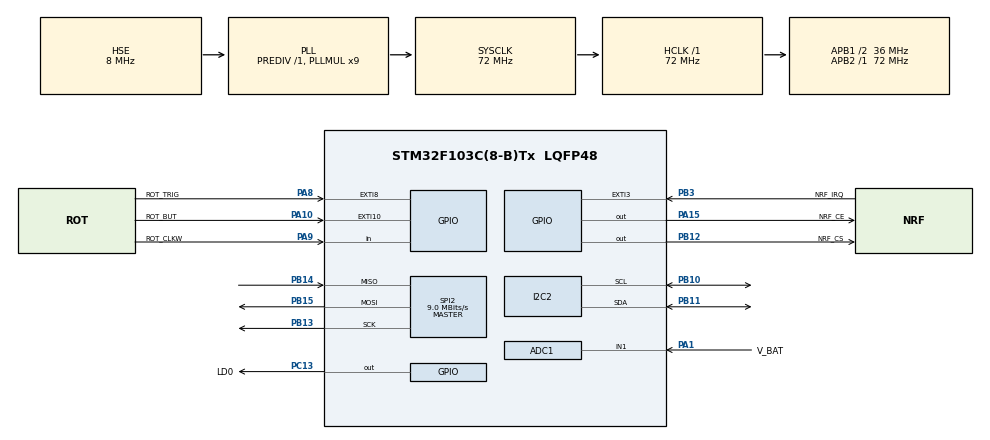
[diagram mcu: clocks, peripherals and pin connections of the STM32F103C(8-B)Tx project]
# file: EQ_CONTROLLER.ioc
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ADC1.Channel-0\#ChannelRegularConversion=ADC_CHANNEL_1
ADC1.NbrOfConversionFlag=1
ADC1.Rank-0\#ChannelRegularConversion=1
ADC1.SamplingTime-0\#ChannelRegularConversion=ADC_SAMPLETIME_1CYCLE_5
ADC1.master=1
I2C2.I2C_Mode=I2C_Fast
Mcu.Family=STM32F1
Mcu.Name=STM32F103C(8-B)Tx
Mcu.Package=LQFP48
NVIC.EXTI15_10_IRQn=true\:0\:0\:false\:false\:true\:true\:true\:true
NVIC.EXTI3_IRQn=true\:0\:0\:false\:false\:true\:true\:true\:true
NVIC.EXTI9_5_IRQn=true\:0\:0\:false\:false\:true\:true\:true\:true
NVIC.PriorityGroup=NVIC_PRIORITYGROUP_4
PA1.GPIO_Label=V_BAT
PA1.Signal=ADCx_IN1
PA10.GPIO_Label=ROT_BUT
PA10.GPIO_ModeDefaultEXTI=GPIO_MODE_IT_RISING_FALLING
PA10.GPIO_PuPd=GPIO_PULLDOWN
PA10.Signal=GPXTI10
PA13.Mode=Serial_Wire
PA13.Signal=SYS_JTMS-SWDIO
PA14.Mode=Serial_Wire
PA14.Signal=SYS_JTCK-SWCLK
PA15.GPIO_Label=NRF_CE
PA15.Signal=GPIO_Output
PA8.GPIO_Label=ROT_TRIG
PA8.GPIO_PuPd=GPIO_PULLDOWN
PA8.Signal=GPXTI8
PA9.GPIO_Label=ROT_CLKW
PA9.GPIO_PuPd=GPIO_PULLDOWN
PA9.Signal=GPIO_Input
PB10.Mode=I2C
PB10.Signal=I2C2_SCL
PB11.Mode=I2C
PB11.Signal=I2C2_SDA
PB12.GPIO_Label=NRF_CS
PB12.Signal=GPIO_Output
PB13.Mode=Full_Duplex_Master
PB13.Signal=SPI2_SCK
PB14.Mode=Full_Duplex_Master
PB14.Signal=SPI2_MISO
PB15.Mode=Full_Duplex_Master
PB15.Signal=SPI2_MOSI
PB3.GPIO_Label=NRF_IRQ
PB3.GPIO_ModeDefaultEXTI=GPIO_MODE_IT_FALLING
PB3.Signal=GPXTI3
PC13-TAMPER-RTC.GPIO_Label=LD0
PC13-TAMPER-RTC.Signal=GPIO_Output
PD0-OSC_IN.Mode=HSE-External-Oscillator
PD0-OSC_IN.Signal=RCC_OSC_IN
PD1-OSC_OUT.Mode=HSE-External-Oscillator
PD1-OSC_OUT.Signal=RCC_OSC_OUT
ProjectManager.HeapSize=0x200
ProjectManager.StackSize=0x400
ProjectManager.TargetToolchain=STM32CubeIDE
RCC.ADCPresc=RCC_ADCPCLK2_DIV6
RCC.AHBFreq_Value=72000000
RCC.APB1CLKDivider=RCC_HCLK_DIV2
RCC.APB1Freq_Value=36000000
RCC.APB1TimFreq_Value=72000000
RCC.APB2Freq_Value=72000000
RCC.APB2TimFreq_Value=72000000
RCC.EnbaleCSS=true
RCC.HCLKFreq_Value=72000000
RCC.PLLMUL=RCC_PLL_MUL9
RCC.PLLSourceVirtual=RCC_PLLSOURCE_HSE
RCC.SYSCLKFreq_VALUE=72000000
RCC.SYSCLKSource=RCC_SYSCLKSOURCE_PLLCLK
RCC.USBFreq_Value=48000000
RCC.USBPrescaler=RCC_USBCLKSOURCE_PLL_DIV1_5
RTC.Date=8
RTC.Format=RTC_FORMAT_BCD
RTC.Month=RTC_MONTH_SEPTEMBER
RTC.Year=23
SH.ADCx_IN1.0=ADC1_IN1,IN1
SPI2.BaudRatePrescaler=SPI_BAUDRATEPRESCALER_4
SPI2.CRCCalculation=SPI_CRCCALCULATION_DISABLE
SPI2.CalculateBaudRate=9.0 MBits/s
SPI2.Direction=SPI_DIRECTION_2LINES
SPI2.FirstBit=SPI_FIRSTBIT_MSB
SPI2.Mode=SPI_MODE_MASTER
SPI2.VirtualType=VM_MASTER
TIM3.AutoReloadPreload=TIM_AUTORELOAD_PRELOAD_ENABLE
TIM3.ClockDivision=TIM_CLOCKDIVISION_DIV2
TIM3.Prescaler=36000-1
VP_RTC_No_RTC_Output.Mode=RTC_OUT_NO
VP_RTC_VS_RTC_Activate.Mode=RTC_Enabled
VP_RTC_VS_RTC_Calendar.Mode=RTC_Calendar
VP_TIM3_VS_ClockSourceINT.Mode=Internal
board=custom

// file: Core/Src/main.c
/* USER CODE BEGIN Header */
/**
 ******************************************************************************
 * @file           : main.c
 * @brief          : Main program body
 ******************************************************************************
 * @attention
 *
 * Copyright (c) 2022 STMicroelectronics.
 * All rights reserved.
 *
 * This software is licensed under terms that can be found in the LICENSE file
 * in the root directory of this software component.
 * If no LICENSE file comes with this software, it is provided AS-IS.
 *
 ******************************************************************************
 */
/* USER CODE END Header */
#include "main.h"
#include "adc.h"
#include "i2c.h"
#include "rtc.h"
#include "spi.h"
#include "tim.h"
#include "gpio.h"

/* USER CODE BEGIN Includes */
#include <math.h>

#include "bitmaps.h"
#include "eqm_settings.h"
#include "menu_drawer.h"
#include "menu_flow.h"
#include "message_manager.h"
#include "rotary_events.h"
#include "sh1106.h"

/* USER CODE END Includes */

/* USER CODE BEGIN PD */
#define MENU_SCREEN_ROWS 6
#define ROW_SPACE_PX 10
#define SELECTION_ARROW_DELAY 20
#define DEG_TO_RAD_CONST (M_PI / 180)

/* USER CODE END PD */

/* USER CODE BEGIN PV */

char* mode_menu_strings[EQM_MODES_AMOUNT] = {[MANUAL_MODE]   = "Manual Mode",
                                             [TRACKING_MODE] = "Start Tracking",
                                             [GOTO_MODE]     = "Go to Target",
                                             [OFF_MODE]      = "Free Movement"};

/* USER CODE END PV */

void SystemClock_Config(void);

/* USER CODE BEGIN 0 */

#ifdef USE_NRF24L01
void nRF24_TX_ESB_setup(const uint8_t* addr) {
    // Do the initial configurations.
    nRF24_init(addr, 110);
    nRF24_StopListening();
}
#endif

/* USER CODE END 0 */

int main(void)
{
  /* USER CODE BEGIN 1 */

    eqm_settings_t settings = {
        .DEC.decimal_degrees  = 0,
        .RA.decimal_hours     = 0,
        .screen_contrast      = 100,
        .screen_contrast_time = 100,
        .mode                 = OFF_MODE,
        .hemisphere           = SOUTH,
    };

    navigator_t navigator = {
        .screens        = screens_adresses,
        .current_screen = &monitor_screen,
        .ctrl =
            {
                .menu =
                    {
                        .head      = 0,
                        .selection = 0,
                    },
            },
        .has_changes = true,
    };

  /* USER CODE END 1 */

  /* MCU Configuration--------------------------------------------------------*/

  /* Reset of all peripherals, Initializes the Flash interface and the Systick. */
  HAL_Init();

  /* Configure the system clock */
  SystemClock_Config();

  /* Initialize all configured peripherals */
  MX_GPIO_Init();
  MX_ADC1_Init();
  MX_I2C2_Init();
  MX_SPI2_Init();
  MX_TIM3_Init();
  MX_RTC_Init();
  /* USER CODE BEGIN 2 */
    HAL_TIM_Base_Stop(&htim3);
    astro_targets_init();
    sh1106_init();
    sh1106_clear();
    sh1106_flush();
    sh1106_draw_bitmap(eqmount_logo, 0, 0, EQM_LOGO_W, EQM_LOGO_H);
    sh1106_flush();
    HAL_Delay(2000);

#if MSG_MNG_TEST_CARRIER
    uint16_t channel_offset = 0;
    while (true) {
        /** Keep sending the carrier */
        nRF24_StartCarrier(nRF24_TXPWR_0dBm,
                           (uint8_t) ((MSG_MNG_EQM_RF_CHANNEL + channel_offset) % 128));
        HAL_Delay(1);
        channel_offset++;
        if (channel_offset > MSG_MNG_CARRIER_ITERATIONS) {
            channel_offset = 0;
        }
    }
#endif

  /* USER CODE END 2 */

  /* Infinite loop */
    while (1) {

    /* USER CODE BEGIN 3 */
        if (rotary_peek_dir() || rotary_peek_press()) {
            handle_rotary_event(&navigator, &settings);
        }

        if (navigator.has_changes) {
            update_screen(&navigator, &settings);
        }
    }
  /* USER CODE END 3 */
}

void SystemClock_Config(void)
{
  RCC_OscInitTypeDef RCC_OscInitStruct = {0};
  RCC_ClkInitTypeDef RCC_ClkInitStruct = {0};
  RCC_PeriphCLKInitTypeDef PeriphClkInit = {0};

  /** Initializes the RCC Oscillators according to the specified parameters
  * in the RCC_OscInitTypeDef structure.
  */
  RCC_OscInitStruct.OscillatorType = RCC_OSCILLATORTYPE_LSI|RCC_OSCILLATORTYPE_HSE;
  RCC_OscInitStruct.HSEState = RCC_HSE_ON;
  RCC_OscInitStruct.HSEPredivValue = RCC_HSE_PREDIV_DIV1;
  RCC_OscInitStruct.HSIState = RCC_HSI_ON;
  RCC_OscInitStruct.LSIState = RCC_LSI_ON;
  RCC_OscInitStruct.PLL.PLLState = RCC_PLL_ON;
  RCC_OscInitStruct.PLL.PLLSource = RCC_PLLSOURCE_HSE;
  RCC_OscInitStruct.PLL.PLLMUL = RCC_PLL_MUL9;
  if (HAL_RCC_OscConfig(&RCC_OscInitStruct) != HAL_OK)
  {
    Error_Handler();
  }

  /** Initializes the CPU, AHB and APB buses clocks
  */
  RCC_ClkInitStruct.ClockType = RCC_CLOCKTYPE_HCLK|RCC_CLOCKTYPE_SYSCLK
                              |RCC_CLOCKTYPE_PCLK1|RCC_CLOCKTYPE_PCLK2;
  RCC_ClkInitStruct.SYSCLKSource = RCC_SYSCLKSOURCE_PLLCLK;
  RCC_ClkInitStruct.AHBCLKDivider = RCC_SYSCLK_DIV1;
  RCC_ClkInitStruct.APB1CLKDivider = RCC_HCLK_DIV2;
  RCC_ClkInitStruct.APB2CLKDivider = RCC_HCLK_DIV1;

  if (HAL_RCC_ClockConfig(&RCC_ClkInitStruct, FLASH_LATENCY_2) != HAL_OK)
  {
    Error_Handler();
  }
  PeriphClkInit.PeriphClockSelection = RCC_PERIPHCLK_RTC|RCC_PERIPHCLK_ADC;
  PeriphClkInit.RTCClockSelection = RCC_RTCCLKSOURCE_LSI;
  PeriphClkInit.AdcClockSelection = RCC_ADCPCLK2_DIV6;
  if (HAL_RCCEx_PeriphCLKConfig(&PeriphClkInit) != HAL_OK)
  {
    Error_Handler();
  }

  /** Enables the Clock Security System
  */
  HAL_RCC_EnableCSS();
}

/* USER CODE BEGIN 4 */
// static void update_home_handler() {
//     nrf24_data_t out_msg;
//     nrf24_data_t in_msg;
//     transf_t t;
//     uint8_t pld_len;
//
//     nRF24_PrepareData("GET_DEC_RA_HOME", 15, REQUEST, &out_msg);
//     while (!nRF24_Talk(out_msg, &in_msg, nRF24_MODE_TX))
//         ;
//     nRF24_RetrieveData(in_msg, &settings_values.RA);
// }

// static void target_menu_select_handler(target_t selected) {
//     astro_target_t tgt;
//
//     if (selected > _TARGET_AMOUNT) {
//         return;
//     }
//
//     tgt = astro_target_get(selected);
//     settings_values.RA = tgt.position.right_ascension;
//     settings_values.DEC = tgt.position.declination;
// }

// static void mode_menu_select_handler(settings_t* settings, eqm_mode_t select) {
//     nrf24_data_t mode_set_msg;
//
//     if (select > EQM_MODES_AMOUNT) {
//         return;
//     }
//
//     settings.mode = select;
//     switch (select) {
//
//         case MANUAL_MODE:
//             nRF24_PrepareData("MANUAL", 7, COMMAND, &mode_set_msg);
//             break;
//         case TRACKING_MODE:
//             nRF24_PrepareData("TRACK", 6, COMMAND, &mode_set_msg);
//             break;
//         case GOTO_MODE:
//             nRF24_PrepareData("GOTO", 5, COMMAND, &mode_set_msg);
//             break;
//         case OFF_MODE:
//             nRF24_PrepareData("RELEASE", 8, COMMAND, &mode_set_msg);
//             break;
//         default:
//             nRF24_PrepareData("NOP", 4, COMMAND, &mode_set_msg);
//             break;
//     }
//
//     while (!nRF24_Talk(mode_set_msg, NULL, nRF24_MODE_TX)) {
//         HAL_Delay(10);
//     }
// }

/*
void load_list_menu_changes(void) {
    uint8_t menu_size = 0;
    uint8_t* menu_selection = 0;
    uint8_t* menu_head = 0;

    switch (screen.kind.menu) {
        case MAIN_MENU:
            menu_size = _MAIN_MENU_AMOUNT;
            menu_selection = (uint8_t*) &menu_data.main_menu.selection;
            menu_head = (uint8_t*) &menu_data.main_menu.head;
            break;
        case TARGET_MENU:
            menu_size = _TARGET_AMOUNT;
            menu_selection = (uint8_t*) &menu_data.target_menu.selection;
            menu_head = (uint8_t*) &menu_data.target_menu.head;
            break;
        case EQM_MODE_MENU:
            menu_size = _EQM_MODES_AMOUNT;
            menu_selection = (uint8_t*) &menu_data.mode_menu.selection;
            menu_head = (uint8_t*) &menu_data.mode_menu.head;
            break;
        default:
            break;
    }

    if (rotary_peek_dir() != NOT_MOVING) {
        handle_list_menu_changes(menu_size, menu_selection, menu_head);
    }
}

static void show_declination(char* buffer, uint8_t x_offset, uint8_t y_offset) {
    uint8_t x_shift = x_offset;

    sprintf(buffer, "%c", (settings_values.DEC.decimal_degrees > 0) ? 'N' : 'S');
    SH1106_printStr(SCR_W - 30, y_offset, buffer, &fnt7x10);
    sprintf(buffer, "%02d", settings_values.DEC.degrees);
    x_shift += SH1106_printStr(x_offset, y_offset, buffer, &fnt7x10);
    x_shift += SH1106_printStr(x_shift, y_offset - 3, "o", &fnt7x10);
    sprintf(buffer, "%02d'%02d\"", settings_values.DEC.arc_minutes,
settings_values.DEC.arc_seconds); SH1106_printStr(x_shift + 2, y_offset, buffer,
&fnt7x10);
}

void show_target_menu() {
    uint8_t str_sel = 0;
    bool is_pressed = rotary_peek_press();

    SH1106_clear();

    for (uint8_t current_str_y = 0; current_str_y < MENU_SCREEN_ROWS; current_str_y++) {
        if (str_sel + menu_data.target_menu.head == _TARGET_AMOUNT) {
            break;
        }
        SH1106_printStr(4 + CUSTOM_CHAR_W, 2 + current_str_y * ROW_SPACE_PX,
                        astro_target_get(str_sel + menu_data.target_menu.head).name,
                        &fnt5x7);
        str_sel++;
    }

    handle_menu_list_arrow(is_pressed, &menu_data.target_menu.selection,
                           &menu_data.target_menu.head);

    SH1106_flush();
    if (is_pressed) {
        HAL_Delay(SELECTION_ARROW_DELAY);
    }
}

void show_mode_menu() {
    uint8_t str_sel = 0;
    bool is_pressed = rotary_peek_press();

    SH1106_clear();

    for (uint8_t current_str_y = 0; current_str_y < MENU_SCREEN_ROWS; current_str_y++) {
        if (str_sel + menu_data.mode_menu.head == _EQM_MODES_AMOUNT) {
            break;
        }
        SH1106_printStr(4 + CUSTOM_CHAR_W, 2 + current_str_y * ROW_SPACE_PX,
                        mode_menu_strings[str_sel + menu_data.mode_menu.head],
                        &fnt5x7);
        str_sel++;
    }

    handle_menu_list_arrow(is_pressed, &menu_data.mode_menu.selection,
                           &menu_data.mode_menu.head);

    SH1106_flush();
    if (is_pressed) {
        HAL_Delay(SELECTION_ARROW_DELAY);
    }
}

void show_settings_adjust(settings_t setting) {
    static const uint8_t X_OFFSET = 20;
    static const uint8_t Y_OFFSET = 30;
    static const uint8_t CENTER_X = 64;
    static const uint8_t CENTER_Y = 44;
    static const uint8_t RADIUS = 10;
    static const uint8_t INNER_RADIUS = RADIUS - 3;
    static const uint8_t OUTER_RADIUS = RADIUS + 4;
    const double dec_in_radians = settings_values.DEC.decimal_degrees * DEG_TO_RAD_CONST;
    double curr_cos;
    double curr_sin;
    char buffer[11] = {0};

    SH1106_clear();

    SH1106_printStr(2, 2, setting_strings[setting], &fnt5x7);
    SH1106_drawHLine(0, SCR_W - 20, 11);

    switch (setting) {

        case DEC_SETTINGS:
            show_declination(buffer, X_OFFSET, Y_OFFSET - 10);
            break;
        case RA_SETTINGS:
            show_right_ascension(buffer, X_OFFSET + 6, Y_OFFSET - 10);
            break;
        case CONTRAST_SETTINGS:
            sprintf(buffer, "%d%%", settings_values.screen_contrast);
            SH1106_printStr(X_OFFSET + 26, Y_OFFSET, buffer, &fnt7x10);
            break;
        case CONTRAST_TIME_SETTINGS:
            sprintf(buffer, "%ds", settings_values.screen_contrast_time);
            SH1106_printStr(X_OFFSET + 26, Y_OFFSET, buffer, &fnt7x10);
            break;
        case HEMISPHERE_SETTINGS:
            sprintf(buffer, "%s", (settings_values.hemisphere == NORTH) ? "North" :
"South"); SH1106_printStr(X_OFFSET + 6, Y_OFFSET, buffer, &fnt7x10); SH1106_drawBitmap(80,
Y_OFFSET - 6, SETTINGS_BITMAP_W, SETTINGS_BITMAP_H, settings_values.hemisphere == NORTH ?
north_hemisphere : south_hemisphere); break; case NONE: default: break;
    }

    SH1106_flush();
}

void load_settings_changes(void) {
    int32_t min;
    int32_t max;
    uint8_t decrement;
    int32_t tmp_value;
    void* setting = NULL;

    switch (screen.kind.setting) {

        case DEC_SETTINGS:
            setting = &settings_values.DEC;
            min = -90 * 3600;
            max = 90 * 3600;
            decrement = 10;
            tmp_value = settings_values.DEC.decimal_degrees * 3600;
            break;
        case RA_SETTINGS:
            setting = &settings_values.RA;
            min = 0;
            max = (24 * 3600) - 1;
            decrement = 10;
            tmp_value = settings_values.RA.decimal_hours * 3600;
            break;
        case CONTRAST_SETTINGS:
            setting = &settings_values.screen_contrast;
            min = 0;
            max = 100;
            decrement = 5;
            tmp_value = settings_values.screen_contrast;
            break;
        case CONTRAST_TIME_SETTINGS:
            setting = &settings_values.screen_contrast_time;
            min = 0;
            max = 255;
            decrement = 5;
            tmp_value = settings_values.screen_contrast_time;
            break;
        case HEMISPHERE_SETTINGS:
            setting = &settings_values.hemisphere;
            min = NORTH;
            max = SOUTH;
            decrement = 1;
            tmp_value = settings_values.hemisphere;
            break;
        case NONE:
        default:
            return;
    }

    if (rotary_peek_dir() != NOT_MOVING) {
        handle_settings_menu_changes(&tmp_value, min, max, decrement);
        switch (screen.kind.setting) {
            case DEC_SETTINGS:
                ((angle_t*) setting)->decimal_degrees = tmp_value / 3600.0;
                tmp_value = tmp_value >= 0 ? tmp_value : -tmp_value;//Correcting
signedness;
                ((angle_t*) setting)->degrees = (int16_t) ((tmp_value / 3600) % 360);
                ((angle_t*) setting)->arc_minutes = (tmp_value / 60) % 60;
                ((angle_t*) setting)->arc_seconds = tmp_value % 60;
                break;
            case RA_SETTINGS:
                ((time__t*) setting)->decimal_hours = tmp_value / 3600.0;
                tmp_value = tmp_value >= 0 ? tmp_value : -tmp_value;//Correcting
signedness;
                ((time__t*) setting)->hours = (tmp_value / 3600) % 24;
                ((time__t*) setting)->minutes = (tmp_value / 60) % 60;
                ((time__t*) setting)->seconds = tmp_value % 60;
                break;
            default:
                *((int32_t*) setting) = tmp_value;
        }
    }
}

*/

/* USER CODE END 4 */

void Error_Handler(void)
{
    __disable_irq();
    while (1) {
    }
}
